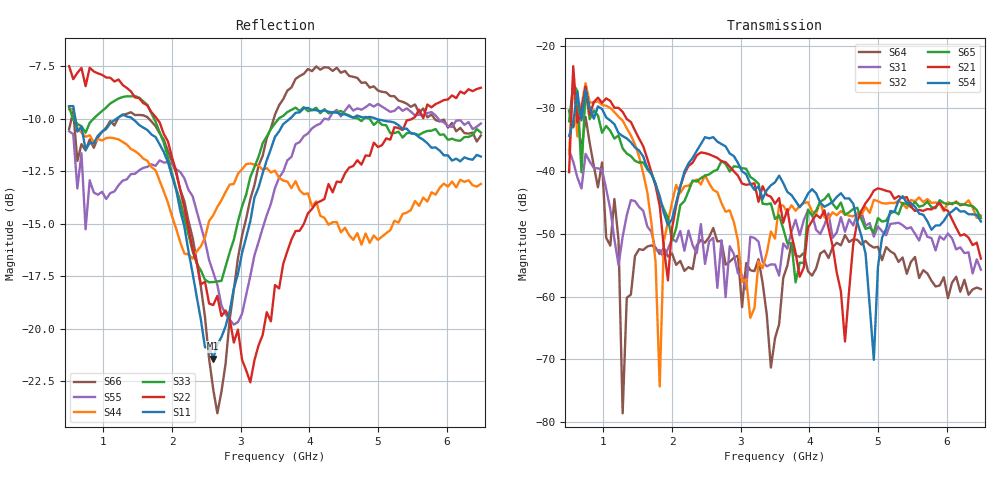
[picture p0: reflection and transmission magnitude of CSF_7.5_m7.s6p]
!Keysight Technologies,M9804A,MY58100912,A.14.10.03
!Date: Thursday, April 27, 2023 10:28:33
!Correction: S11(C  6-Port  )
!S12(C  6-Port  )
!S13(C  6-Port  )
!S14(C  6-Port  )
!S15(C  6-Port  )
!S16(C  6-Port  )
!S21(C  6-Port  )
!S22(C  6-Port  )
!S23(C  6-Port  )
!S24(C  6-Port  )
!S25(C  6-Port  )
!S26(C  6-Port  )
!S31(C  6-Port  )
!S32(C  6-Port  )
!S33(C  6-Port  )
!S34(C  6-Port  )
!S35(C  6-Port  )
!S36(C  6-Port  )
!S41(C  6-Port  )
!S42(C  6-Port  )
!S43(C  6-Port  )
!S44(C  6-Port  )
!S45(C  6-Port  )
!S46(C  6-Port  )
!S51(C  6-Port  )
!S52(C  6-Port  )
!S53(C  6-Port  )
!S54(C  6-Port  )
!S55(C  6-Port  )
!S56(C  6-Port  )
!S61(C  6-Port  )
!S62(C  6-Port  )
!S63(C  6-Port  )
!S64(C  6-Port  )
!S65(C  6-Port  )
!S66(C  6-Port  )
!S6P File: Measurement: :
# Hz S  RI  R 50
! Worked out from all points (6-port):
!   101 points, 500 MHz to 6.5 GHz, reference 50 ohm
!   strongest paths, dB at 500 MHz, 2 GHz, 3.5 GHz, 5 GHz, 6.5 GHz:
!     S54: -34.4, -47.7, -41.8, -55.3, -48.0
!     S21: -40.2, -49.1, -45.2, -42.7, -53.9
!     S65: -32.1, -51.1, -47.6, -47.5, -47.5
!     S32: -37.2, -45.0, -50.7, -44.8, -47.1
!     S31: -36.7, -50.8, -54.9, -48.8, -55.7
!     S64: -30.4, -53.1, -66.6, -52.1, -58.8
!   lowest |S11| = -21.4 dB at 2.6 GHz (marker M1), VSWR 1.19, Z = 42.5 + j2.24 ohm
!   |S11| at or under -10 dB: 589.9 MHz to 1.189 GHz (598.8 MHz wide, 67.3 % of centre); 1.424 GHz to 3.715 GHz (2.291 GHz wide, 89.1 % of centre); 4.975 GHz to end of sweep
